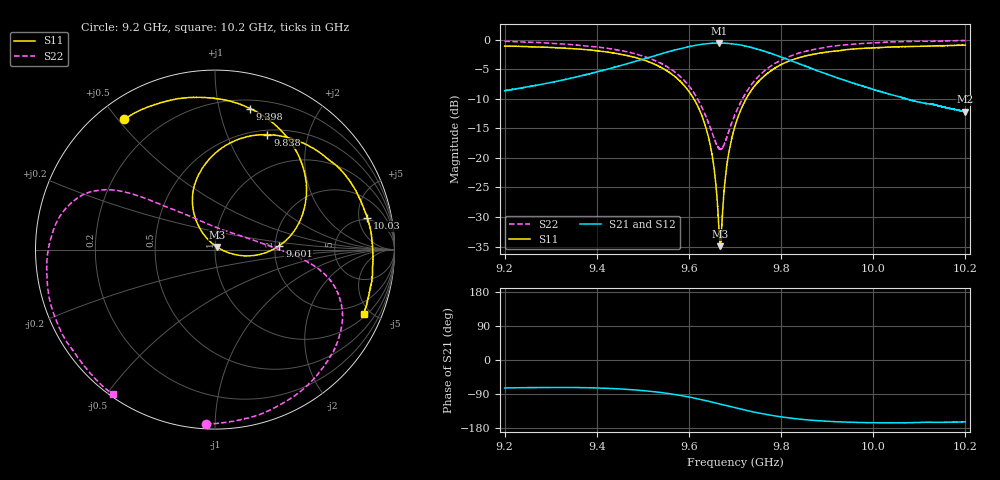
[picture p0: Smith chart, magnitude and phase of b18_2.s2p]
!Agilent Technologies,N5242A,MY51221714,A.09.90.19
!Agilent N5242A: A.09.90.19
!Date: Saturday, December 30, 2023 10:01:17
!Correction: S11(Full 2 Port(1,2))
!S21(Full 2 Port(1,2))
!S12(Full 2 Port(1,2))
!S22(Full 2 Port(1,2))
!S2P File: Measurements: S11, S21, S12, S22:
# Hz S  dB  R 50
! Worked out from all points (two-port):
!   16001 points, 9.2 GHz to 10.2 GHz, reference 50 ohm
!   highest |S21| = -0.54 dB at 9.665 GHz (marker M1); lowest = -12.2 dB at 10.2 GHz (marker M2)
!   |S21| within 3 dB of the highest: 9.488 GHz to 9.822 GHz (333.8 MHz wide, 3.46 % of centre)
!   lowest |S11| = -34.9 dB at 9.668 GHz (marker M3), VSWR 1.04, Z = 51.1 + j1.46 ohm
!   |S11| at or under -10 dB: 9.611 GHz to 9.724 GHz (113.5 MHz wide, 1.17 % of centre)
!   |S22| runs from -18.6 to -0.1 dB; largest |S21 - S12| = 0.012
!   S11 on the Smith chart (normalised r, x): 9.2 GHz: 0.08, +0.52; 9.398 GHz: 0.27, +1.24; 9.601 GHz: 2.11, +0.11; 9.838 GHz: 0.55, +1.41; 10.03 GHz: 4.62, +6.50; 10.2 GHz: 1.17, -4.52
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9.2e9  -1.07 124.8  -8.61 -73.8  -8.60 -74.4  -0.24 -93.0
9.277812e9  -1.23 106.8  -7.57 -72.6  -7.56 -73.1  -0.48 -71.8
9.366688e9  -1.59 84.7  -6.09 -72.8  -6.08 -73.5  -0.97 -48.9
9.398312e9  -1.84 76.0  -5.47 -73.8  -5.45 -74.4  -1.20 -41.2
9.466625e9  -2.66 55.4  -4.02 -77.5  -4.02 -78.0  -2.05 -26.1
9.533375e9  -4.43 32.1  -2.52 -84.9  -2.52 -85.4  -3.75 -14.1
9.601438e9  -8.89 3.5  -1.14 -98.0  -1.13 -98.6  -7.96 -2.3
9.644375e9  -17.15 -13.2  -0.62 -109.3  -0.62 -110.0  -14.49 20.4
9.655875e9  -22.61 -12.9  -0.57 -112.8  -0.56 -113.3  -16.94 37.3
9.665125e9  -32.00 13.8  -0.54 -115.5  -0.55 -116.1  -18.40 60.4
9.667875e9  -34.94 53.0  -0.55 -116.3  -0.54 -116.9  -18.54 68.8
9.671062e9  -31.82 99.0  -0.54 -117.3  -0.54 -117.9  -18.39 78.8
9.683312e9  -20.69 126.4  -0.60 -121.0  -0.58 -121.6  -16.22 108.3
9.7e9  -14.63 123.1  -0.73 -126.0  -0.72 -126.6  -12.66 126.9
9.750375e9  -7.12 100.9  -1.63 -139.6  -1.61 -140.2  -6.24 143.9
9.8375e9  -3.06 65.5  -3.99 -155.7  -4.00 -156.2  -2.28 155.4
9.866688e9  -2.49 55.5  -4.87 -159.1  -4.86 -159.6  -1.69 159.8
9.95e9  -1.60 31.6  -7.17 -164.2  -7.16 -164.8  -0.78 175.5
1.003069e10  -1.25 11.7  -9.09 -165.7  -9.10 -166.3  -0.38 -166.8
1.003338e10  -1.23 11.1  -9.17 -165.7  -9.15 -166.4  -0.37 -166.2
1.01995e10  -0.90 -23.3  -12.17 -163.3  -12.16 -164.0  -0.12 -125.4
1.02e10  -0.89 -23.5  -12.15 -163.3  -12.16 -164.0  -0.12 -125.2
